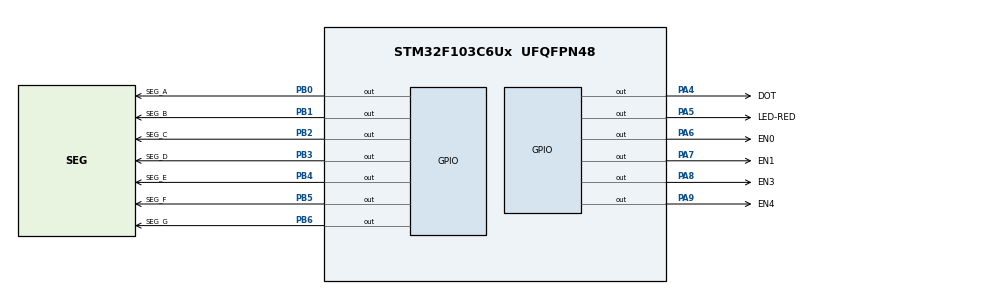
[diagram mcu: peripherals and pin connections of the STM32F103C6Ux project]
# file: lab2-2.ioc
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Mcu.Family=STM32F1
Mcu.Name=STM32F103C6Ux
Mcu.Package=UFQFPN48
NVIC.PriorityGroup=NVIC_PRIORITYGROUP_4
NVIC.TIM2_IRQn=true\:0\:0\:false\:false\:true\:true\:true
PA4.GPIO_Label=DOT
PA4.Signal=GPIO_Output
PA5.GPIO_Label=LED-RED
PA5.Signal=GPIO_Output
PA6.GPIO_Label=EN0
PA6.Signal=GPIO_Output
PA7.GPIO_Label=EN1
PA7.Signal=GPIO_Output
PA8.GPIO_Label=EN3
PA8.Signal=GPIO_Output
PA9.GPIO_Label=EN4
PA9.Signal=GPIO_Output
PB0.GPIO_Label=SEG_A
PB0.Signal=GPIO_Output
PB1.GPIO_Label=SEG_B
PB1.Signal=GPIO_Output
PB2.GPIO_Label=SEG_C
PB2.Signal=GPIO_Output
PB3.GPIO_Label=SEG_D
PB3.Signal=GPIO_Output
PB4.GPIO_Label=SEG_E
PB4.Signal=GPIO_Output
PB5.GPIO_Label=SEG_F
PB5.Signal=GPIO_Output
PB6.GPIO_Label=SEG_G
PB6.Signal=GPIO_Output
ProjectManager.HeapSize=0x200
ProjectManager.StackSize=0x400
ProjectManager.TargetToolchain=STM32CubeIDE
RCC.APB1Freq_Value=8000000
RCC.APB2Freq_Value=8000000
TIM2.Period=9
TIM2.Prescaler=7999
VP_SYS_VS_ND.Mode=No_Debug
VP_TIM2_VS_ClockSourceINT.Mode=Internal
board=custom

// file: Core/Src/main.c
/* USER CODE BEGIN Header */
/**
  ******************************************************************************
  * @file           : main.c
  * @brief          : Lab 2 - Exercises 2 to 8
  *
  * DOT: PA4
  * Separate active-LOW LED: PA5
  * EN0-EN3: PA6-PA9, active LOW through PNP
  * Segments a-g: PB0-PB6, common anode
  * TIM2 interrupt: 10 ms
  ******************************************************************************
  */
/* USER CODE END Header */
#include "main.h"

/* USER CODE BEGIN PD */

/* Select exercise: 2, 3, 4, 5, 6, 7 or 8 */
#define LAB_TASK 8

#if LAB_TASK < 2 || LAB_TASK > 8
#error "LAB_TASK must be between 2 and 8"
#endif

#define DOT_PIN          GPIO_PIN_4
#define STATUS_LED_PIN   GPIO_PIN_5

#define EN0_PIN          GPIO_PIN_6
#define EN1_PIN          GPIO_PIN_7
#define EN2_PIN          GPIO_PIN_8
#define EN3_PIN          GPIO_PIN_9

#define ENABLE_PINS      (EN0_PIN | EN1_PIN | EN2_PIN | EN3_PIN)

#define SEGMENT_PINS     (GPIO_PIN_0 | GPIO_PIN_1 | GPIO_PIN_2 | \
                          GPIO_PIN_3 | GPIO_PIN_4 | GPIO_PIN_5 | \
                          GPIO_PIN_6)

#define MAX_LED          4
#define TIMER_CYCLE      10U

#if LAB_TASK <= 3
#define SCAN_PERIOD_MS   500U
#else
#define SCAN_PERIOD_MS   250U
#endif

/*
 * Exercise 6 test settings:
 *
 * Normal example:
 *   EX6_START_TIMER = 1, EX6_FIRST_MS = 1000U
 *
 * Report 1: omit initial timer:
 *   EX6_START_TIMER = 0
 *
 * Report 2:
 *   EX6_START_TIMER = 1, EX6_FIRST_MS = 1U
 *
 * Report 3:
 *   EX6_START_TIMER = 1, EX6_FIRST_MS = 10U
 */
#define EX6_START_TIMER  1
#define EX6_FIRST_MS     1000U

/* USER CODE END PD */

TIM_HandleTypeDef htim2;

/* USER CODE BEGIN PV */

/* Bit 0 = a, bit 1 = b, ..., bit 6 = g */
static const uint8_t digitPattern[10] =
{
  0x3F, /* 0 */
  0x06, /* 1 */
  0x5B, /* 2 */
  0x4F, /* 3 */
  0x66, /* 4 */
  0x6D, /* 5 */
  0x7D, /* 6 */
  0x07, /* 7 */
  0x7F, /* 8 */
  0x6F  /* 9 */
};

static const uint16_t enablePin[MAX_LED] =
{
  EN0_PIN, EN1_PIN, EN2_PIN, EN3_PIN
};

#if LAB_TASK == 2
volatile int led_buffer[MAX_LED] = {1, 2, 3, 0};
#else
volatile int led_buffer[MAX_LED] = {1, 2, 3, 4};
#endif

int index_led = 0;

int hour = 15;
int minute = 8;
int second = 50;

#if LAB_TASK <= 7
static uint16_t scanCounter = SCAN_PERIOD_MS / TIMER_CYCLE;
#endif

#if LAB_TASK <= 6
static uint16_t dotCounter = 1000U / TIMER_CYCLE;
#endif

volatile uint32_t timer0_counter = 0U;
volatile uint8_t timer0_flag = 0U;

volatile uint32_t timer1_counter = 0U;
volatile uint8_t timer1_flag = 0U;

/* USER CODE END PV */

void SystemClock_Config(void);
static void MX_GPIO_Init(void);
static void MX_TIM2_Init(void);
/* USER CODE BEGIN PFP */

void display7SEG(int num);
void update7SEG(int index);
void updateClockBuffer(void);

void setTimer0(uint32_t duration);
void setTimer1(uint32_t duration);
void timer_run(void);

static void disableAllDigits(void);
static void advanceClockOneSecond(void);

/* USER CODE END PFP */

/* USER CODE BEGIN 0 */

/* Disable all PNP-controlled displays */
static void disableAllDigits(void)
{
  HAL_GPIO_WritePin(GPIOA, ENABLE_PINS, GPIO_PIN_SET);
}

/* Output one decimal digit to segment pins */
void display7SEG(int num)
{
  HAL_GPIO_WritePin(GPIOB, SEGMENT_PINS, GPIO_PIN_SET);

  if (num < 0 || num > 9)
  {
    return;
  }

  /* Common anode: pull required segments LOW */
  HAL_GPIO_WritePin(GPIOB,
                   (uint16_t)digitPattern[num],
                   GPIO_PIN_RESET);
}

/* Show the buffer value on one selected display */
void update7SEG(int index)
{
  disableAllDigits();

  if (index < 0 || index >= MAX_LED)
  {
    return;
  }

  display7SEG(led_buffer[index]);

  HAL_GPIO_WritePin(GPIOA,
                   enablePin[index],
                   GPIO_PIN_RESET);
}

/* Convert hour and minute to four decimal digits */
void updateClockBuffer(void)
{
  /*
   * Protect the buffer from being read halfway through an update
   * by the scanning interrupt in exercises 5-7.
   */
  uint32_t savedPrimask = __get_PRIMASK();
  __disable_irq();

  led_buffer[0] = hour / 10;
  led_buffer[1] = hour % 10;
  led_buffer[2] = minute / 10;
  led_buffer[3] = minute % 10;

  __set_PRIMASK(savedPrimask);
}

static void advanceClockOneSecond(void)
{
  second++;

  if (second >= 60)
  {
    second = 0;
    minute++;
  }

  if (minute >= 60)
  {
    minute = 0;
    hour++;
  }

  if (hour >= 24)
  {
    hour = 0;
  }

  updateClockBuffer();
}

/*
 * Software timer duration is in milliseconds.
 * Integer division is retained to match exercise 6.
 */
void setTimer0(uint32_t duration)
{
  uint32_t savedPrimask = __get_PRIMASK();
  __disable_irq();

  timer0_counter = duration / TIMER_CYCLE;
  timer0_flag = 0U;

  __set_PRIMASK(savedPrimask);
}

void setTimer1(uint32_t duration)
{
  uint32_t savedPrimask = __get_PRIMASK();
  __disable_irq();

  timer1_counter = duration / TIMER_CYCLE;
  timer1_flag = 0U;

  __set_PRIMASK(savedPrimask);
}

/* Run every 10 ms inside the TIM2 callback */
void timer_run(void)
{
  if (timer0_counter > 0U)
  {
    timer0_counter--;

    if (timer0_counter == 0U)
    {
      timer0_flag = 1U;
    }
  }

  if (timer1_counter > 0U)
  {
    timer1_counter--;

    if (timer1_counter == 0U)
    {
      timer1_flag = 1U;
    }
  }
}

/* USER CODE END 0 */

int main(void)
{

  /* MCU Configuration--------------------------------------------------------*/

  /* Reset of all peripherals, Initializes the Flash interface and the Systick. */
  HAL_Init();

  /* Configure the system clock */
  SystemClock_Config();

  /* USER CODE BEGIN SysInit */

  /* Release PB3/PB4 from JTAG, retain SWD */
  __HAL_RCC_AFIO_CLK_ENABLE();
  __HAL_AFIO_REMAP_SWJ_NOJTAG();

  /* USER CODE END SysInit */

  /* Initialize all configured peripherals */
  MX_GPIO_Init();
  MX_TIM2_Init();
  /* USER CODE BEGIN 2 */

#if LAB_TASK >= 5
  updateClockBuffer();
#endif

  /* Display the first digit immediately */
  update7SEG(0);
  index_led = 1;

  /* DOT starts OFF */
  HAL_GPIO_WritePin(GPIOA, DOT_PIN, GPIO_PIN_SET);

  #if LAB_TASK == 6
    /* Exercise 6: D1 starts OFF for software timer tests */
    HAL_GPIO_WritePin(GPIOA, STATUS_LED_PIN, GPIO_PIN_SET);
  #else
    /* Other exercises: D1 stays ON as an initialization indicator */
    HAL_GPIO_WritePin(GPIOA, STATUS_LED_PIN, GPIO_PIN_RESET);
  #endif

#if LAB_TASK == 6

#if EX6_START_TIMER
  setTimer0(EX6_FIRST_MS);
#endif

#elif LAB_TASK == 7

  setTimer0(1000U);

#elif LAB_TASK == 8

  setTimer0(1000U);
  setTimer1(SCAN_PERIOD_MS);

#endif

  /* Start TIM2 with no pending update event */
  __HAL_TIM_SET_COUNTER(&htim2, 0U);
  __HAL_TIM_CLEAR_FLAG(&htim2, TIM_FLAG_UPDATE);

  if (HAL_TIM_Base_Start_IT(&htim2) != HAL_OK)
  {
    Error_Handler();
  }

  /* USER CODE END 2 */

  /* Infinite loop */
  while (1)
  {

    /* USER CODE BEGIN 3 */

#if LAB_TASK == 2 || LAB_TASK == 3 || LAB_TASK == 4

    /* Scanning and DOT are handled by the timer interrupt. */

#elif LAB_TASK == 5

    /* Exercise 5: blocking delay in main */
    HAL_Delay(1000);
    advanceClockOneSecond();

#elif LAB_TASK == 6

    /*
     * Software timer demonstration on PA5.
     * Clock functions from exercise 5 are retained.
     * The displayed time remains fixed during this test.
     */
    if (timer0_flag == 1U)
    {
      setTimer0(2000U);
      HAL_GPIO_TogglePin(GPIOA, STATUS_LED_PIN);
    }

#elif LAB_TASK == 7

    /* Clock and DOT move to main; scanning stays in interrupt */
    if (timer0_flag == 1U)
    {
      setTimer0(1000U);

      advanceClockOneSecond();
      HAL_GPIO_TogglePin(GPIOA, DOT_PIN);
    }

#elif LAB_TASK == 8

    /* Clock and DOT event every second */
    if (timer0_flag == 1U)
    {
      setTimer0(1000U);

      advanceClockOneSecond();
      HAL_GPIO_TogglePin(GPIOA, DOT_PIN);
    }

    /* Scanning event every 250 ms */
    if (timer1_flag == 1U)
    {
      setTimer1(SCAN_PERIOD_MS);

      update7SEG(index_led);
      index_led = (index_led + 1) % MAX_LED;
    }

#endif

  }
  /* USER CODE END 3 */
}

void SystemClock_Config(void)
{
  RCC_OscInitTypeDef RCC_OscInitStruct = {0};
  RCC_ClkInitTypeDef RCC_ClkInitStruct = {0};

  /** Initializes the RCC Oscillators according to the specified parameters
  * in the RCC_OscInitTypeDef structure.
  */
  RCC_OscInitStruct.OscillatorType = RCC_OSCILLATORTYPE_HSI;
  RCC_OscInitStruct.HSIState = RCC_HSI_ON;
  RCC_OscInitStruct.HSICalibrationValue = RCC_HSICALIBRATION_DEFAULT;
  RCC_OscInitStruct.PLL.PLLState = RCC_PLL_NONE;
  if (HAL_RCC_OscConfig(&RCC_OscInitStruct) != HAL_OK)
  {
    Error_Handler();
  }
  /** Initializes the CPU, AHB and APB buses clocks
  */
  RCC_ClkInitStruct.ClockType = RCC_CLOCKTYPE_HCLK|RCC_CLOCKTYPE_SYSCLK
                              |RCC_CLOCKTYPE_PCLK1|RCC_CLOCKTYPE_PCLK2;
  RCC_ClkInitStruct.SYSCLKSource = RCC_SYSCLKSOURCE_HSI;
  RCC_ClkInitStruct.AHBCLKDivider = RCC_SYSCLK_DIV1;
  RCC_ClkInitStruct.APB1CLKDivider = RCC_HCLK_DIV1;
  RCC_ClkInitStruct.APB2CLKDivider = RCC_HCLK_DIV1;

  if (HAL_RCC_ClockConfig(&RCC_ClkInitStruct, FLASH_LATENCY_0) != HAL_OK)
  {
    Error_Handler();
  }
}

static void MX_TIM2_Init(void)
{

  TIM_ClockConfigTypeDef sClockSourceConfig = {0};
  TIM_MasterConfigTypeDef sMasterConfig = {0};

  htim2.Instance = TIM2;
  htim2.Init.Prescaler = 7999;
  htim2.Init.CounterMode = TIM_COUNTERMODE_UP;
  htim2.Init.Period = 9;
  htim2.Init.ClockDivision = TIM_CLOCKDIVISION_DIV1;
  htim2.Init.AutoReloadPreload = TIM_AUTORELOAD_PRELOAD_DISABLE;
  if (HAL_TIM_Base_Init(&htim2) != HAL_OK)
  {
    Error_Handler();
  }
  sClockSourceConfig.ClockSource = TIM_CLOCKSOURCE_INTERNAL;
  if (HAL_TIM_ConfigClockSource(&htim2, &sClockSourceConfig) != HAL_OK)
  {
    Error_Handler();
  }
  sMasterConfig.MasterOutputTrigger = TIM_TRGO_RESET;
  sMasterConfig.MasterSlaveMode = TIM_MASTERSLAVEMODE_DISABLE;
  if (HAL_TIMEx_MasterConfigSynchronization(&htim2, &sMasterConfig) != HAL_OK)
  {
    Error_Handler();
  }

}

static void MX_GPIO_Init(void)
{
  GPIO_InitTypeDef GPIO_InitStruct = {0};

  /* GPIO Ports Clock Enable */
  __HAL_RCC_GPIOA_CLK_ENABLE();
  __HAL_RCC_GPIOB_CLK_ENABLE();

  /*Configure GPIO pin Output Level */
  HAL_GPIO_WritePin(GPIOA, DOT_Pin|LED_RED_Pin|EN0_Pin|EN1_Pin
                          |EN3_Pin|EN4_Pin, GPIO_PIN_RESET);

  /*Configure GPIO pin Output Level */
  HAL_GPIO_WritePin(GPIOB, SEG_A_Pin|SEG_B_Pin|SEG_C_Pin|SEG_D_Pin
                          |SEG_E_Pin|SEG_F_Pin|SEG_G_Pin, GPIO_PIN_RESET);

  /*Configure GPIO pins : DOT_Pin LED_RED_Pin EN0_Pin EN1_Pin
                           EN3_Pin EN4_Pin */
  GPIO_InitStruct.Pin = DOT_Pin|LED_RED_Pin|EN0_Pin|EN1_Pin
                          |EN3_Pin|EN4_Pin;
  GPIO_InitStruct.Mode = GPIO_MODE_OUTPUT_PP;
  GPIO_InitStruct.Pull = GPIO_NOPULL;
  GPIO_InitStruct.Speed = GPIO_SPEED_FREQ_LOW;
  HAL_GPIO_Init(GPIOA, &GPIO_InitStruct);

  /*Configure GPIO pins : SEG_A_Pin SEG_B_Pin SEG_C_Pin SEG_D_Pin
                           SEG_E_Pin SEG_F_Pin SEG_G_Pin */
  GPIO_InitStruct.Pin = SEG_A_Pin|SEG_B_Pin|SEG_C_Pin|SEG_D_Pin
                          |SEG_E_Pin|SEG_F_Pin|SEG_G_Pin;
  GPIO_InitStruct.Mode = GPIO_MODE_OUTPUT_PP;
  GPIO_InitStruct.Pull = GPIO_NOPULL;
  GPIO_InitStruct.Speed = GPIO_SPEED_FREQ_LOW;
  HAL_GPIO_Init(GPIOB, &GPIO_InitStruct);

}

/* USER CODE BEGIN 4 */

void HAL_TIM_PeriodElapsedCallback(TIM_HandleTypeDef *htim)
{
  if (htim->Instance != TIM2)
  {
    return;
  }

#if LAB_TASK >= 6
  timer_run();
#endif

#if LAB_TASK <= 7
  /* Exercises 2-7: scan displays inside the interrupt */
  if (scanCounter > 0U)
  {
    scanCounter--;
  }

  if (scanCounter == 0U)
  {
    scanCounter = SCAN_PERIOD_MS / TIMER_CYCLE;

    update7SEG(index_led);
    index_led = (index_led + 1) % MAX_LED;
  }
#endif

#if LAB_TASK <= 6
  /* Exercises 2-6: control DOT inside the interrupt */
  if (dotCounter > 0U)
  {
    dotCounter--;
  }

  if (dotCounter == 0U)
  {
    dotCounter = 1000U / TIMER_CYCLE;
    HAL_GPIO_TogglePin(GPIOA, DOT_PIN);
  }
#endif
}

/* USER CODE END 4 */

void Error_Handler(void)
{
  __disable_irq();
  while (1)
  {
  }
}

#ifdef  USE_FULL_ASSERT
/**
  * @brief  Reports the name of the source file and the source line number
  *         where the assert_param error has occurred.
  * @param  file: pointer to the source file name
  * @param  line: assert_param error line source number
  * @retval None
  */
void assert_failed(uint8_t *file, uint32_t line)
{
  /* USER CODE BEGIN 6 */

  (void)file;
  (void)line;

  /* USER CODE END 6 */
}
#endif /* USE_FULL_ASSERT */

/************************ (C) COPYRIGHT STMicroelectronics *****END OF FILE****/
